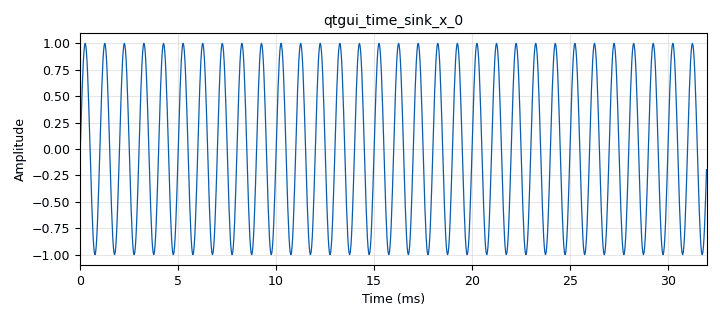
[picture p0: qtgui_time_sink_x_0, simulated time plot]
options:
  parameters:
    generate_options: qt_gui
    id: PythonBlock
    output_language: python
    title: PythonBlock
  states: {}

blocks:
- name: samp_rate
  id: variable
  parameters:
    value: '32000'
  states: {}
- name: analog_sig_source_x_0
  id: analog_sig_source_x
  parameters:
    amp: '1'
    freq: '1000'
    offset: '0'
    phase: '0'
    samp_rate: samp_rate
    type: float
    waveform: analog.GR_SIN_WAVE
  states: {}
- name: blocks_throttle_0
  id: blocks_throttle
  parameters:
    samples_per_second: samp_rate
    type: float
  states: {}
- name: epy_block_0
  id: epy_block
  parameters:
    _source_code: |
      """
      Embedded Python Blocks:

      Each time this file is saved, GRC will instantiate the first class it finds
      to get ports and parameters of your block. The arguments to __init__  will
      be the parameters. All of them are required to have default values!
      """

      import numpy as np
      from gnuradio import gr


      class blk(gr.sync_block):  # other base classes are basic_block, decim_block, interp_block
          """Embedded Python Block example - a simple multiply const"""

          def __init__(self, size=1.0):  # only default arguments here
              """arguments to this function show up as parameters in GRC"""
              gr.sync_block.__init__(
                  self,
                  name='Calculo Parameters',   # will show up in GRC
                  in_sig=[np.float32],
                  out_sig=[np.float32, np.float32, np.float32, np.float32, np.float32]
              )
              # if an attribute with the same name as a parameter is found,
              # a callback is registered (properties work, too).
              self.size = size

          def work(self, input_items, output_items):
              """example: multiply with constant"""
              average = 0
              sqaverage = 0
              rms = 0
              desvest = 0
              N = len(input_items[0])
              for vectorIndex in range(N):
              	average += input_items[0][vectorIndex]
              	sqaverage += (input_items[0][vectorIndex])**2
              	rms += abs(input_items[0][vectorIndex])**2
              output_items[0][:] = N
              output_items[1][:] = sqaverage/N
              output_items[2][:] = np.sqrt(rms/N)
              output_items[3][:] = rms/N
              for vectorIndex in range(N):
              	desvest += (input_items[0][vectorIndex]-average/N)**2
              output_items[4][:] = np.sqrt(desvest/N)
              return len(output_items)
    size: '1'
  states: {}
- name: qtgui_number_sink_0
  id: qtgui_number_sink
  parameters:
    graph_type: qtgui.NUM_GRAPH_HORIZ
    label1: 'Media:'
    label2: 'Media Cuadratica:'
    label3: RMS
    label4: Potencia Media
    label5: Desviacion Estandar
    max: '6'
    min: '0'
    name: '"Promedio"'
    nconnections: '5'
    type: float
  states: {}
- name: qtgui_time_sink_x_0
  id: qtgui_time_sink_x
  parameters:
    autoscale: 'True'
    size: '1024'
    srate: samp_rate
    type: float
    ymax: '2'
    ymin: '-2'
  states: {}

connections:
- [analog_sig_source_x_0, '0', blocks_throttle_0, '0']
- [blocks_throttle_0, '0', epy_block_0, '0']
- [blocks_throttle_0, '0', qtgui_time_sink_x_0, '0']
- [epy_block_0, '0', qtgui_number_sink_0, '0']
- [epy_block_0, '1', qtgui_number_sink_0, '1']
- [epy_block_0, '2', qtgui_number_sink_0, '2']
- [epy_block_0, '3', qtgui_number_sink_0, '3']
- [epy_block_0, '4', qtgui_number_sink_0, '4']

metadata:
  file_format: 1
